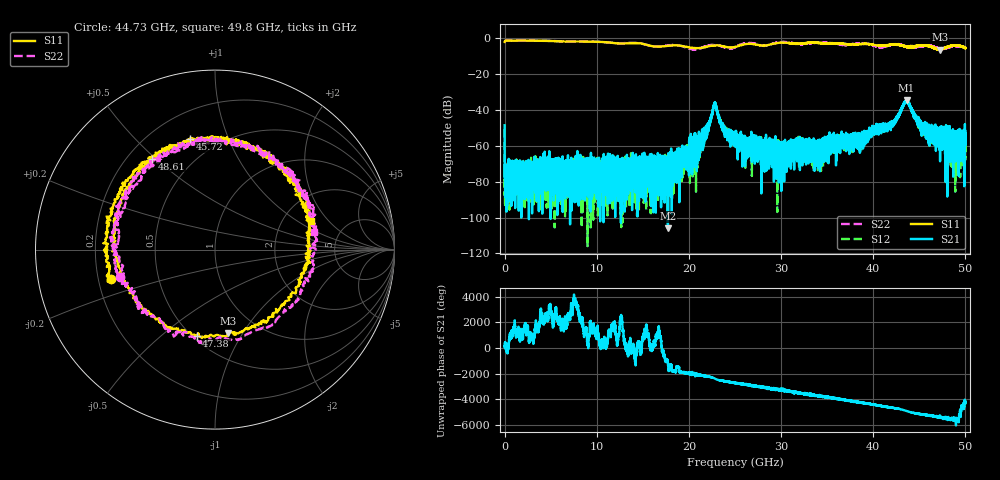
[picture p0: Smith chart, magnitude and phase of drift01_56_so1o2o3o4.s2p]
!Created with skrf (http://scikit-rf.org).
# Hz S RI R 50.0
!freq ReS11 ImS11 ReS21 ImS21 ReS12 ImS12 ReS22 ImS22
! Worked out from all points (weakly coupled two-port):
!   10001 points, 300 kHz to 50 GHz, reference 50 ohm
!   highest |S21| = -34.79 dB at 43.62 GHz (marker M1); lowest = -106.0 dB at 17.72 GHz (marker M2)
!   lowest |S11| = -6.6 dB at 47.23 GHz (marker M3), VSWR 2.77, Z = 36.3 - j43.2 ohm
!   |S11| at or under -10 dB: nowhere
!   |S22| runs from -6.4 to -1.4 dB; largest |S21 - S12| = 0.0038
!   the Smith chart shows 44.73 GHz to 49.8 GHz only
!   S11 on the Smith chart (normalised r, x): 44.73 GHz: 0.25, -0.13; 45.72 GHz: 0.36, +0.73; 47.38 GHz: 0.53, -0.66; 48.61 GHz: 0.30, +0.49; 49.8 GHz: 2.84, +1.32
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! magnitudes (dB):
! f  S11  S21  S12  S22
! 300 kHz  -2.2  -48.6  -50.6  -2.1
! 300.3 MHz  -1.4  -73.6  -75.3  -1.4
! 8.335 GHz  -1.9  -74.6  -73.5  -1.8
! 16.67 GHz  -4.8  -77.0  -72.8  -4.8
! 17.72 GHz  -4.3  -106.0  -76.4  -4.1
! 21.02 GHz  -5.6  -60.5  -58.0  -6.1
! 22.02 GHz  -4.8  -49.5  -50.1  -4.3
! 22.8 GHz  -4.3  -36.4  -36.0  -4.0
! 23.82 GHz  -4.7  -51.0  -51.5  -5.1
! 25 GHz  -5.0  -58.2  -54.9  -5.1
! 30.11 GHz  -2.6  -61.5  -67.6  -2.3
! 33.34 GHz  -2.6  -56.9  -63.1  -2.6
! 38.77 GHz  -3.3  -54.8  -56.4  -3.1
! 41.67 GHz  -3.9  -50.8  -48.9  -4.0
! 43.62 GHz  -4.6  -34.8  -35.1  -5.0
! 44.73 GHz  -4.4  -45.3  -45.7  -5.1
! 45.72 GHz  -4.0  -53.3  -52.7  -4.0
! 47.23 GHz  -6.6  -62.6  -54.4  -5.7
! 47.38 GHz  -6.2  -61.3  -54.1  -5.8
! 48.61 GHz  -4.2  -55.4  -57.3  -4.7
! 49.8 GHz  -5.1  -54.8  -56.3  -5.0
! 50 GHz  -5.6  -55.5  -59.8  -5.3
